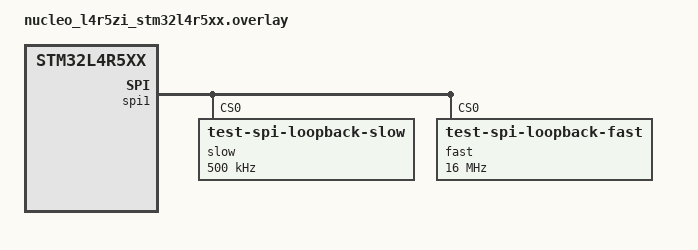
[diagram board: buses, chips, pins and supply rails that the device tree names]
/*
 * Copyright (c) 2020 Erwin Rol <erwin@erwinrol.com>
 *
 * SPDX-License-Identifier: Apache-2.0
 */

&spi1 {
	dmas = <&dmamux1 0 11 (STM32_DMA_PERIPH_TX | STM32_DMA_PRIORITY_HIGH)
		&dmamux1 7 10 (STM32_DMA_PERIPH_RX | STM32_DMA_PRIORITY_HIGH)>;
	dma-names = "tx", "rx";
	slow@0 {
		compatible = "test-spi-loopback-slow";
		reg = <0>;
		spi-max-frequency = <500000>;
	};
	fast@0 {
		compatible = "test-spi-loopback-fast";
		reg = <0>;
		spi-max-frequency = <16000000>;
	};
};

&dma1 {
	status = "okay";
};

&dma2 {
	status = "okay";
};

&dmamux1 {
	status = "okay";
};
